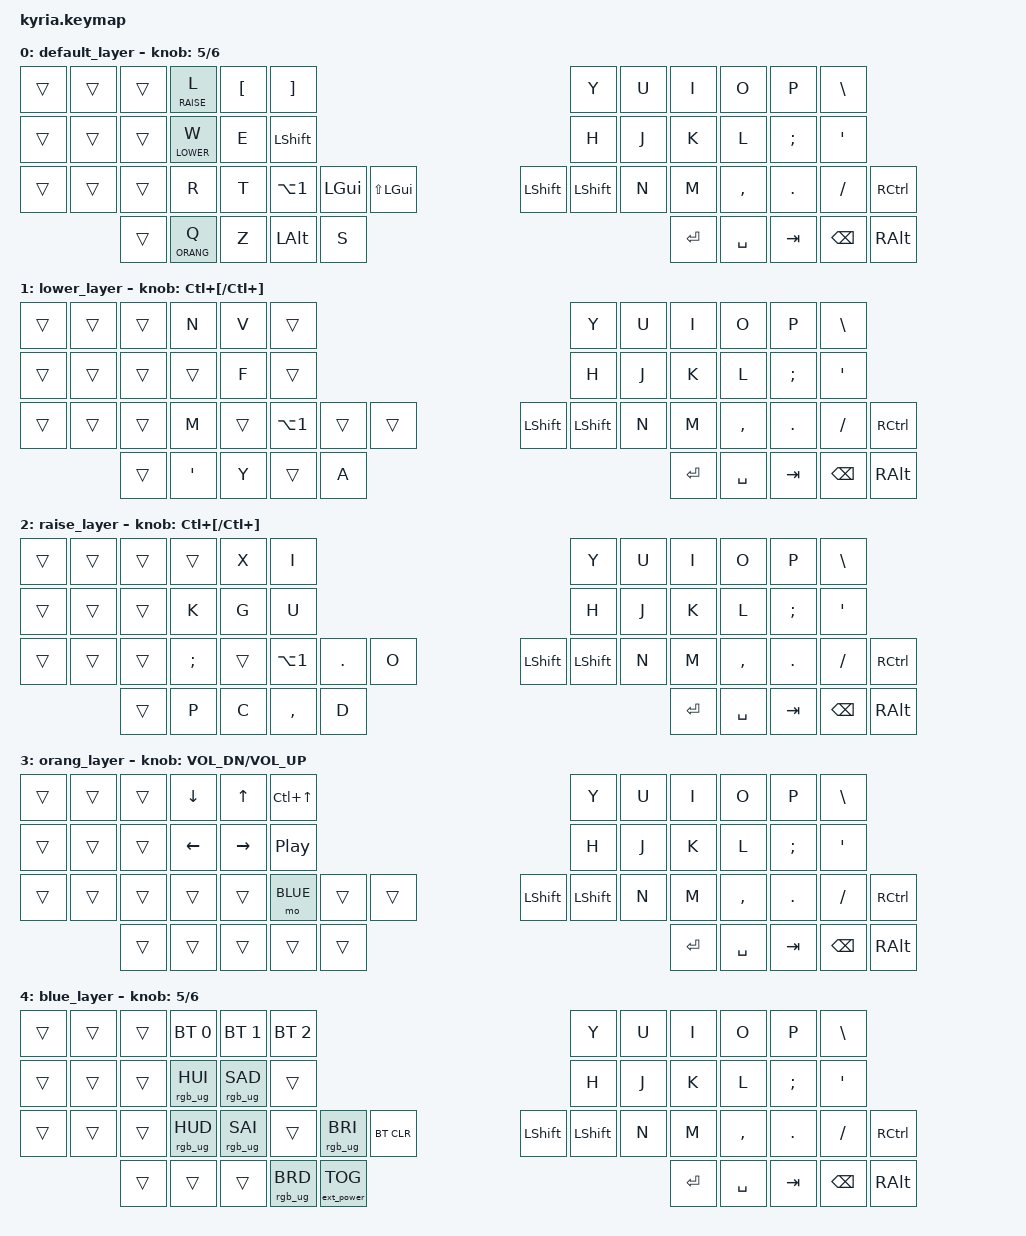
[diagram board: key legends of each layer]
/*
 * Copyright (c) 2020 The ZMK Contributors
 *
 * SPDX-License-Identifier: MIT
 */

#include <behaviors.dtsi>
#include <dt-bindings/zmk/keys.h>
#include <dt-bindings/zmk/bt.h>
#include <dt-bindings/zmk/rgb.h>
#include <dt-bindings/zmk/ext_power.h>
#include <dt-bindings/zmk/outputs.h>

#define DEFAULT 0
#define LOWER   1
#define RAISE   2
#define ORANG   3
#define BLUE    4

&left_encoder { resolution = <2>; };
// &right_encoder { resolution = <1>; };

&mt {
    tapping-term-ms = <135>;
};

&lt {
    tapping-term-ms = <135>;
};

&spi1 {
	compatible = "nordic,nrf-spim";
	status = "okay";
	mosi-pin = <6>;
	// Unused pins, needed for SPI definition, but not used by the ws2812 driver itself.
	sck-pin = <5>;
	miso-pin = <7>;

	led_strip: ws2812@0 {
		compatible = "worldsemi,ws2812-spi";
		label = "WS2812";

		/* SPI */
		reg = <0>; /* ignored, but necessary for SPI bindings */
		spi-max-frequency = <4000000>;

		/* WS2812 */
		chain-length = <11>; /* arbitrary; change at will */
		spi-one-frame = <0x70>;
		spi-zero-frame = <0x40>;
	};
};

/ {
	chosen {
		zmk,underglow = &led_strip;
	};
};


/ {
	keymap {
		compatible = "zmk,keymap";

		default_layer {
// ---------------------------------------------------------------------------------------------------------------------------------
// |  M | R    | LGUI |  E |  R |  T |                                          |  Y   |  U    |  I    |  O   |   P   |   \  |
// |  L | X    |  W   | N2 | N3 |  H |                                          |  H   |  J    |  K    |  L   |   ;   |   '  |
// | MO1| EPTOG|  Q   |  Y |  A |  V | C | D |               | L SHIFT | L SHIFT |  N   |  M    |  ,    |  .   |   /   | CTRL |
//                     | N0|  S | LSHIFT |LALT| F |    |   RET   |  SPACE  | TAB  | BSPC  | R-ALT |
			bindings = <
	&trans &trans &trans    &lt RAISE L &kp LBKT &kp RBKT                                                &kp Y &kp U  &kp I     &kp O   &kp P    &kp BSLH
	&trans &trans &trans    &lt LOWER W &kp E &kp LSHFT                                                &kp H &kp J  &kp K     &kp L   &kp SEMI &kp SQT
	&trans &trans &trans    &kp R &kp T &kp LA(N1) &kp LGUI &kp LS(LGUI)                &kp LSHFT &kp LSHFT &kp N &kp M  &kp COMMA &kp DOT &kp FSLH &kp RCTRL
	              &trans    &lt ORANG Q &kp Z &kp LALT &kp S                         &kp RET  &kp SPACE  &kp TAB &kp BSPC &kp RALT
			>;

			sensor-bindings = <&inc_dec_kp N5 N6>;
		};
        lower_layer {
// ---------------------------------------------------------------------------------------------------------------------------------
// |  M | R    | LGUI |  E |  R |  T |                                          |  Y   |  U    |  I    |  O   |   P   |   \  |
// |  L | X    |  W   | N2 | N3 |  H |                                          |  H   |  J    |  K    |  L   |   ;   |   '  |
// | MO1| EPTOG|  Q   |  Y |  A |  V | C | D |               | L SHIFT | L SHIFT |  N   |  M    |  ,    |  .   |   /   | CTRL |
//                     | N0|  S | LSHIFT |LALT| F |    |   RET   |  SPACE  | TAB  | BSPC  | R-ALT |
			bindings = <
	&trans &trans &trans    &kp N &kp V &trans                                                &kp Y &kp U  &kp I     &kp O   &kp P    &kp BSLH
	&trans &trans &trans    &trans &kp F &trans                                                &kp H &kp J  &kp K     &kp L   &kp SEMI &kp SQT
	&trans &trans &trans    &kp M &trans &kp LA(N1) &trans &trans                &kp LSHFT &kp LSHFT &kp N &kp M  &kp COMMA &kp DOT &kp FSLH &kp RCTRL
	              &trans    &kp SINGLE_QUOTE &kp Y &trans &kp A                                       &kp RET  &kp SPACE  &kp TAB &kp BSPC &kp RALT
			>;

			sensor-bindings = <&inc_dec_kp LC(LBKT) LC(RBKT)>;
		};
		raise_layer {
// ---------------------------------------------------------------------------------------------------------------------------------
// |  M | R    | LGUI |  E |  R |  T |                                          |  Y   |  U    |  I    |  O   |   P   |   \  |
// |  L | X    |  W   | N2 | N3 |  H |                                          |  H   |  J    |  K    |  L   |   ;   |   '  |
// | MO1| EPTOG|  Q   |  Y |  A |  V | C | D |               | L SHIFT | L SHIFT |  N   |  M    |  ,    |  .   |   /   | CTRL |
//                     | N0|  S | LSHIFT |LALT| F |    |   RET   |  SPACE  | TAB  | BSPC  | R-ALT |
			bindings = <
	&trans &trans &trans    &trans &kp X &kp I                                                 &kp Y &kp U  &kp I     &kp O   &kp P    &kp BSLH
	&trans &trans &trans    &kp K &kp G &kp U                                                 &kp H &kp J  &kp K     &kp L   &kp SEMI &kp SQT
	&trans &trans &trans    &kp SEMICOLON &trans &kp LA(N1) &kp PERIOD &kp O              &kp LSHFT &kp LSHFT &kp N &kp M  &kp COMMA &kp DOT &kp FSLH &kp RCTRL
	              &trans    &kp P &kp C &kp COMMA &kp D                                   &kp RET  &kp SPACE  &kp TAB &kp BSPC &kp RALT
			>;

			sensor-bindings = <&inc_dec_kp LC(LBKT) LC(RBKT)>;
		};
		orang_layer {
// ---------------------------------------------------------------------------------------------------------------------------------
// |  M | R    | LGUI |  E |  R |  T |                                          |  Y   |  U    |  I    |  O   |   P   |   \  |
// |  L | X    |  W   | N2 | N3 |  H |                                          |  H   |  J    |  K    |  L   |   ;   |   '  |
// | MO1| EPTOG|  Q   |  Y |  A |  V | C | D |               | L SHIFT | L SHIFT |  N   |  M    |  ,    |  .   |   /   | CTRL |
//                     | N0|  S | LSHIFT |LALT| F |    |   RET   |  SPACE  | TAB  | BSPC  | R-ALT |
			bindings = <
	&trans &trans &trans    &kp DOWN_ARROW &kp UP_ARROW &kp LC(UP_ARROW)                                                 &kp Y &kp U  &kp I     &kp O   &kp P    &kp BSLH
	&trans &trans &trans    &kp LEFT_ARROW &kp RIGHT_ARROW &kp C_PLAY_PAUSE                                                 &kp H &kp J  &kp K     &kp L   &kp SEMI &kp SQT
	&trans &trans &trans    &trans &trans &mo BLUE &trans &trans                           &kp LSHFT &kp LSHFT &kp N &kp M  &kp COMMA &kp DOT &kp FSLH &kp RCTRL
	              &trans    &trans &trans &trans &trans                                   &kp RET  &kp SPACE  &kp TAB &kp BSPC &kp RALT
			>;

			sensor-bindings = <&inc_dec_kp C_VOL_DN C_VOL_UP>;
		};
		blue_layer {
// ---------------------------------------------------------------------------------------------------------------------------------
// |  M | R    | LGUI |  E |  R |  T |                                          |  Y   |  U    |  I    |  O   |   P   |   \  |
// |  L | X    |  W   | N2 | N3 |  H |                                          |  H   |  J    |  K    |  L   |   ;   |   '  |
// | MO1| EPTOG|  Q   |  Y |  A |  V | C | D |               | L SHIFT | L SHIFT |  N   |  M    |  ,    |  .   |   /   | CTRL |
//                     | N0|  S | LSHIFT |LALT| F |    |   RET   |  SPACE  | TAB  | BSPC  | R-ALT |
			bindings = <
	&trans &trans &trans    &bt BT_SEL 0 &bt BT_SEL 1 &bt BT_SEL 2                                                 &kp Y &kp U  &kp I     &kp O   &kp P    &kp BSLH
	&trans &trans &trans    &rgb_ug RGB_HUI &rgb_ug RGB_SAD &trans                                                    &kp H &kp J  &kp K     &kp L   &kp SEMI &kp SQT
	&trans &trans &trans    &rgb_ug RGB_HUD &rgb_ug RGB_SAI &trans &rgb_ug RGB_BRI &bt BT_CLR                         &kp LSHFT &kp LSHFT &kp N &kp M  &kp COMMA &kp DOT &kp FSLH &kp RCTRL
	              &trans                      &trans &trans &rgb_ug RGB_BRD &ext_power EP_TOG                                           &kp RET  &kp SPACE  &kp TAB &kp BSPC &kp RALT
			>;

			sensor-bindings = <&inc_dec_kp N5 N6>;
		};
	};
};

